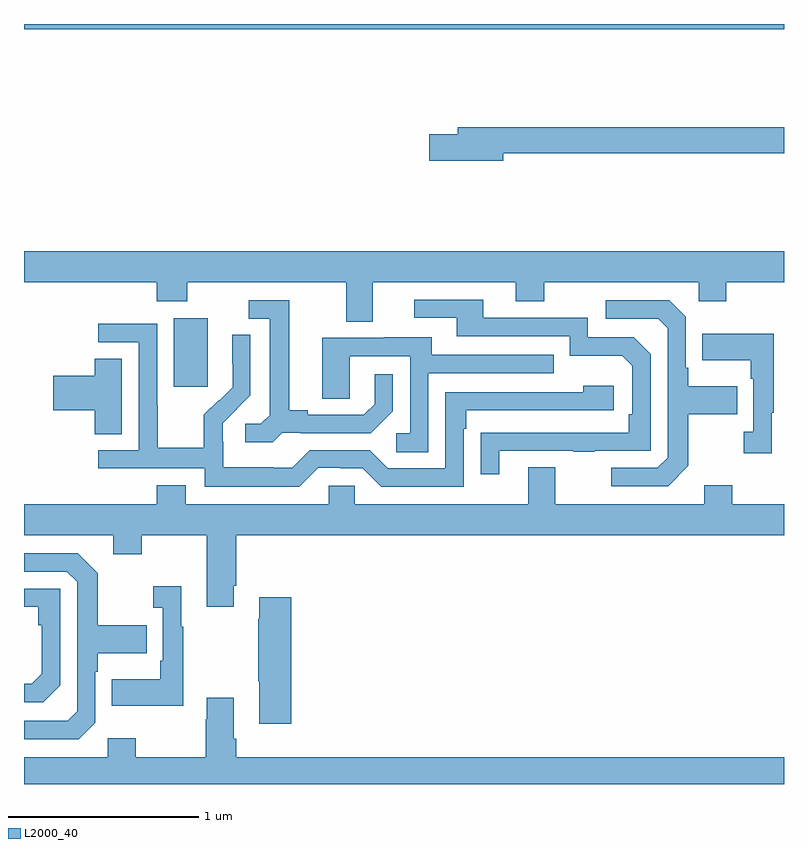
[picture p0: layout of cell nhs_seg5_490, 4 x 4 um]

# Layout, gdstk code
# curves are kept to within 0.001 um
import gdstk
lib = gdstk.Library(unit=1e-6, precision=1e-09)
def R(c, l, rs):  # rectangles x0, y0, x1, y1
    for r in rs: c.add(gdstk.rectangle(r[:2], r[2:], *l))
def P(c, l, *ps):  # polygons
    for p in ps: c.add(gdstk.Polygon(p, *l))
L2000_40 = (2000, 40)

nhs_seg5_490 = lib.new_cell('nhs_seg5_490')
R(nhs_seg5_490, L2000_40, [(143.789,842.889,143.968,843.25), (143,844.772,147,844.799)])
P(nhs_seg5_490, L2000_40, [(145.522,844.12),(147,844.12),(147,844.256),(145.283,844.256),(145.283,844.22),(145.134,844.22),(145.134,844.078),(145.522,844.078)],
  [(143,843.44),(143.699,843.44),(143.699,843.341),(143.859,843.341),(143.859,843.44),(144.695,843.44),(144.695,843.232),(144.835,843.232),(144.835,843.44),(145.589,843.44),(145.589,843.341),(145.737,843.341),(145.737,843.44),(146.55,843.44),(146.55,843.341),(146.697,843.341),(146.697,843.44),(147,843.44),(147,843.604),(143,843.604)],
  [(145.501,842.553),(145.891,842.553),(145.891,842.548),(146.003,842.548),(146.003,842.553),(146.298,842.553),(146.298,843.06),(146.208,843.15),(145.968,843.15),(145.968,843.252),(145.417,843.252),(145.417,843.348),(145.053,843.348),(145.053,843.252),(145.277,843.252),(145.277,843.156),(145.872,843.156),(145.872,843.053),(146.149,843.053),(146.202,843),(146.202,842.746),(146.182,842.746),(146.182,842.649),(145.405,842.648),(145.405,842.43),(145.501,842.43)],
  [(146.497,842.473),(146.497,842.746),(146.753,842.746),(146.753,842.893),(146.497,842.893),(146.497,842.989),(146.484,842.989),(146.484,843.258),(146.397,843.345),(146.061,843.345),(146.061,843.249),(146.337,843.249),(146.388,843.198),(146.388,842.517),(146.334,842.463),(146.091,842.463),(146.091,842.367),(146.391,842.367)],
  [(144.36,842.649),(144.454,842.649),(144.454,842.646),(144.826,842.646),(144.942,842.762),(144.942,842.956),(144.845,842.956),(144.845,842.799),(144.788,842.742),(144.493,842.742),(144.493,842.765),(144.397,842.765),(144.397,843.345),(144.183,843.345),(144.183,843.249),(144.293,843.249),(144.293,842.741),(144.246,842.694),(144.165,842.694),(144.165,842.597),(144.308,842.597)],
  [(144.549,842.463),(144.665,842.463),(144.665,842.46),(144.783,842.46),(144.879,842.364),(145.314,842.364),(145.314,842.669),(145.327,842.669),(145.327,842.766),(146.104,842.766),(146.104,842.896),(145.943,842.896),(145.943,842.862),(145.218,842.862),(145.218,842.46),(144.915,842.46),(144.819,842.556),(144.504,842.556),(144.411,842.463),(144.311,842.463),(144.311,842.467),(144.048,842.467),(144.048,842.601),(144.046,842.601),(144.046,842.698),(144.192,842.846),(144.192,843.164),(144.096,843.164),(144.096,843.01),(144.098,843.01),(144.098,842.888),(144.027,842.817),(144.024,842.82),(143.947,842.743),(143.947,842.569),(143.703,842.569),(143.703,842.792),(143.7,842.792),(143.7,843.222),(143.391,843.222),(143.391,843.123),(143.604,843.123),(143.604,842.556),(143.391,842.556),(143.391,842.46),(143.952,842.46),(143.952,842.363),(144.449,842.363)],
  [(146.935,842.753),(146.947,842.753),(146.947,843.169),(146.569,843.169),(146.569,843.029),(146.826,843.029),(146.826,842.933),(146.838,842.933),(146.838,842.654),(146.787,842.654),(146.787,842.541),(146.935,842.541)],
  [(145.128,842.961),(145.787,842.961),(145.787,843.057),(145.147,843.057),(145.147,843.151),(144.893,843.151),(144.893,843.147),(144.569,843.147),(144.569,842.827),(144.714,842.827),(144.714,843.051),(145.032,843.051),(145.032,842.646),(144.96,842.646),(144.96,842.545),(145.128,842.545)],
  [(143.515,843.038),(143.372,843.038),(143.372,842.948),(143.154,842.948),(143.154,842.765),(143.372,842.765),(143.372,842.641),(143.515,842.641)],
  [(146.579,842.371),(146.579,842.272),(145.795,842.272),(145.795,842.467),(145.655,842.467),(145.655,842.272),(144.741,842.272),(144.741,842.37),(144.603,842.37),(144.603,842.272),(143.851,842.272),(143.851,842.371),(143.699,842.371),(143.699,842.272),(143,842.272),(143,842.108),(143.471,842.108),(143.471,842.009),(143.619,842.009),(143.619,842.108),(143.963,842.108),(143.963,841.731),(144.103,841.731),(144.103,841.843),(144.116,841.843),(144.116,842.108),(147,842.108),(147,842.272),(146.727,842.272),(146.727,842.371)],
  [(143.376,841.122),(143.376,841.391),(143.389,841.391),(143.389,841.487),(143.645,841.487),(143.645,841.635),(143.389,841.635),(143.389,841.907),(143.283,842.013),(143,842.013),(143,841.917),(143.226,841.917),(143.28,841.863),(143.28,841.182),(143.229,841.131),(143,841.131),(143,841.035),(143.289,841.035)],
  [(143.839,841.627),(143.827,841.627),(143.827,841.84),(143.679,841.84),(143.679,841.727),(143.73,841.727),(143.73,841.447),(143.718,841.447),(143.718,841.351),(143.461,841.351),(143.461,841.211),(143.839,841.211)],
  [(143.19,841.32),(143.19,841.827),(143,841.827),(143,841.731),(143.074,841.731),(143.074,841.634),(143.094,841.634),(143.094,841.38),(143.041,841.327),(143,841.327),(143,841.23),(143.1,841.23)],
  [(144.407,841.783),(144.239,841.783),(144.239,841.67),(144.232,841.67),(144.232,841.339),(144.239,841.339),(144.239,841.116),(144.407,841.116)],
  [(147,840.94),(144.116,840.94),(144.116,841.036),(144.103,841.036),(144.103,841.252),(143.963,841.252),(143.963,841.139),(143.956,841.139),(143.956,840.94),(143.589,840.94),(143.589,841.039),(143.442,841.039),(143.442,840.94),(143,840.94),(143,840.799),(147,840.799)])

lib.write_gds('nhs_seg5_490.gds')
